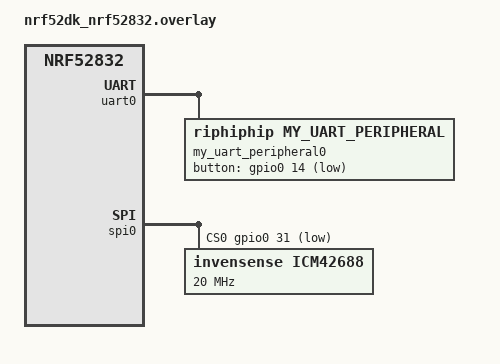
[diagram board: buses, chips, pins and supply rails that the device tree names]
// To get started, press Ctrl+Space to bring up the completion menu and view the available nodes.

// You can also use the buttons in the sidebar to perform actions on nodes.
// Actions currently available include:

// * Enabling / disabling the node
// * Adding the bus to a bus
// * Removing the node
// * Connecting ADC channels

// For more help, browse the DeviceTree documentation at https://docs.zephyrproject.org/latest/guides/dts/index.html
// You can also visit the nRF DeviceTree extension documentation at https://nrfconnect.github.io/vscode-nrf-connect/devicetree/nrfdevicetree.html

&uart0 {
    my_device: my_uart_peripheral0 {
        compatible = "riphiphip,my_uart_peripheral";
        status="okay";
        label = "my_uart_peripheral0";
        button-gpios = <&gpio0 14 (GPIO_ACTIVE_LOW | GPIO_PULL_UP)>; // Button 1 on dk
        initial-string = "Hello, World!";
    };
};
&spi0 {
	cs-gpios =<&gpio0 31 GPIO_ACTIVE_LOW>;

	icm42688p@0 {
		compatible = "invensense,icm42688";
		reg = <0>;
		spi-max-frequency = <20000000>;
		accel-hz = <32000>;
		accel-fs = <16>;
		gyro-hz = <32000>;
		gyro-fs = <2000>;
		label = "ICM42688";
	};

	status = "okay";
};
